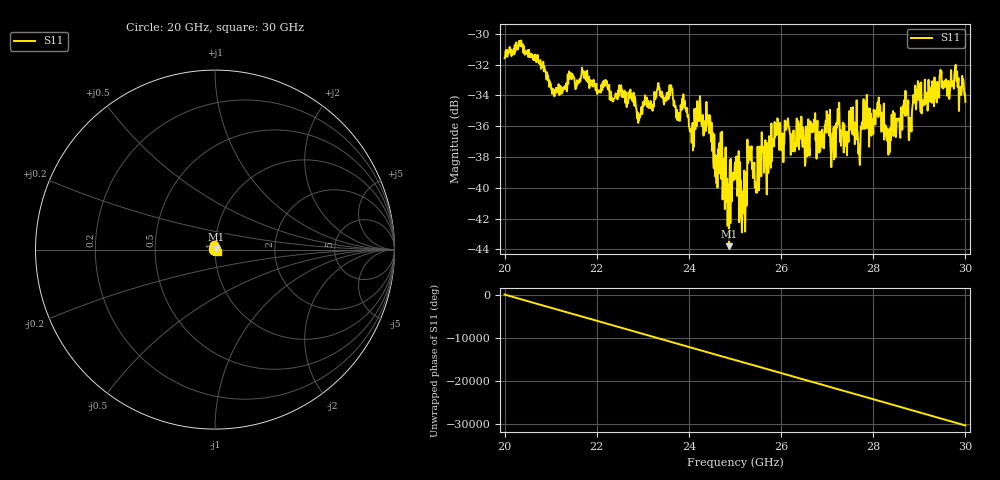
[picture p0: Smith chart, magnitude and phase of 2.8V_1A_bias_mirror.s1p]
#  HZ  S  RI  R  50.00
! Rohde & Schwarz ZVA40 4Ports - Version 3.90 - 1145.1110k42 SN: 100403
! Date: 2023-09-26 10:28:13
! Measurement: S12
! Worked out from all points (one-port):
!   1001 points, 20 GHz to 30 GHz, reference 50 ohm
!   lowest |S11| = -43.8 dB at 24.87 GHz (marker M1), VSWR 1.01, Z = 50.5 + j0.372 ohm
!   |S11| at or under -10 dB: start of sweep to end of sweep
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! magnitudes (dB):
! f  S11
! 20 GHz  -31.6
! 20.35 GHz  -30.6
! 21.25 GHz  -33.9
! 21.72 GHz  -32.9
! 22.5 GHz  -33.5
! 22.91 GHz  -35.5
! 23.59 GHz  -34.0
! 23.75 GHz  -35.6
! 23.9 GHz  -34.5
! 24.06 GHz  -37.1
! 24.2 GHz  -35.1
! 24.42 GHz  -36.0
! 24.57 GHz  -39.3
! 24.87 GHz  -43.8
! 25 GHz  -38.4
! 25.17 GHz  -40.2
! 25.32 GHz  -37.3
! 25.48 GHz  -40.3
! 25.9 GHz  -36.6
! 26.25 GHz  -37.6
! 27.5 GHz  -35.1
! 27.7 GHz  -38.0
! 27.81 GHz  -34.4
! 28.11 GHz  -35.4
! 28.34 GHz  -36.3
! 28.75 GHz  -35.2
! 29.49 GHz  -33.5
! 30 GHz  -34.4
